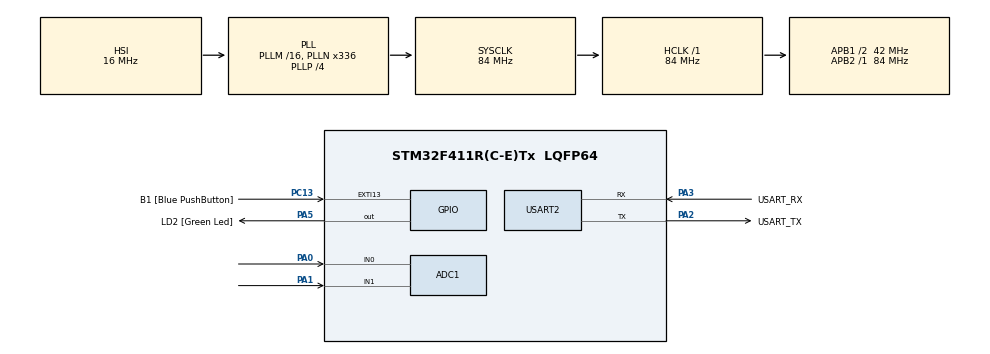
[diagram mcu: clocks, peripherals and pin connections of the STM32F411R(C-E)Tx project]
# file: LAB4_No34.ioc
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Mcu.Family=STM32F4
RCC.CortexFreq_Value=84000000
VP_ADC1_TempSens_Input.Mode=IN-TempSens
ADC1.ContinuousConvMode=ENABLE
PA14.GPIO_Label=TCK
RCC.SYSCLKSource=RCC_SYSCLKSOURCE_PLLCLK
ProjectManager.StackSize=0x400
PH0\ -\ OSC_IN.Signal=RCC_OSC_IN
ADC1.Channel-3\#ChannelRegularConversion=ADC_CHANNEL_TEMPSENSOR
RCC.HCLKFreq_Value=84000000
RCC.APB2TimFreq_Value=84000000
Dma.ADC1.0.Direction=DMA_PERIPH_TO_MEMORY
ADC1.Channel-2\#ChannelRegularConversion=ADC_CHANNEL_TEMPSENSOR
NVIC.DMA2_Stream0_IRQn=true\:0\:0\:false\:false\:true\:false\:true
Dma.ADC1.0.MemDataAlignment=DMA_MDATAALIGN_WORD
RCC.AHBFreq_Value=84000000
NVIC.EXTI15_10_IRQn=true\:0\:0\:false\:false\:true\:true\:true
ADC1.Channel-0\#ChannelRegularConversion=ADC_CHANNEL_0
RCC.HSE_VALUE=8000000
ADC1.ScanConvMode=ENABLE
PC13-ANTI_TAMP.Signal=GPXTI13
VP_ADC1_Vref_Input.Mode=IN-Vrefint
ADC1.Rank-2\#ChannelRegularConversion=3
PC14-OSC32_IN.Mode=LSE-External-Oscillator
PA14.Mode=Serial_Wire
Dma.ADC1.0.PeriphInc=DMA_PINC_DISABLE
SH.ADCx_IN0.0=ADC1_IN0,IN0
ADC1.SamplingTime-0\#ChannelRegularConversion=ADC_SAMPLETIME_480CYCLES
RCC.FLatency-AdvancedSettings=FLASH_LATENCY_2
Mcu.Package=LQFP64
USART2.VirtualMode=VM_ASYNC
PA2.GPIO_Label=USART_TX
SH.ADCx_IN1.0=ADC1_IN1,IN1
RCC.APB1TimFreq_Value=84000000
Dma.ADC1.0.FIFOMode=DMA_FIFOMODE_DISABLE
Dma.Request0=ADC1
PA3.Signal=USART2_RX
PB3.GPIO_Label=SWO
PC15-OSC32_OUT.Mode=LSE-External-Oscillator
Dma.ADC1.0.Instance=DMA2_Stream0
ADC1.Rank-0\#ChannelRegularConversion=1
PC13-ANTI_TAMP.GPIO_PuPd=GPIO_PULLUP
PC13-ANTI_TAMP.GPIO_Label=B1 [Blue PushButton]
PH1\ -\ OSC_OUT.Mode=HSE-External-Clock-Source
RCC.APB1CLKDivider=RCC_HCLK_DIV2
PC14-OSC32_IN.Signal=RCC_OSC32_IN
ADC1.SamplingTime-2\#ChannelRegularConversion=ADC_SAMPLETIME_480CYCLES
PA0-WKUP.Signal=ADCx_IN0
PA13.Signal=SYS_JTMS-SWDIO
PA3.Mode=Asynchronous
Dma.ADC1.0.PeriphDataAlignment=DMA_PDATAALIGN_WORD
PH0\ -\ OSC_IN.Mode=HSE-External-Clock-Source
ProjectManager.TargetToolchain=STM32CubeIDE
Dma.ADC1.0.Mode=DMA_CIRCULAR
Dma.ADC1.0.Priority=DMA_PRIORITY_LOW
ADC1.Channel-1\#ChannelRegularConversion=ADC_CHANNEL_1
PC15-OSC32_OUT.Signal=RCC_OSC32_OUT
PA1.Signal=ADCx_IN1
PA5.Signal=GPIO_Output
PH1\ -\ OSC_OUT.Signal=RCC_OSC_OUT
board=NUCLEO-F411RE
RCC.VCOOutputFreq_Value=336000000
RCC.APB2Freq_Value=84000000
ADC1.DMAContinuousRequests=ENABLE
ADC1.NbrOfConversion=4
PA13.Mode=Serial_Wire
Mcu.Name=STM32F411R(C-E)Tx
PA13.GPIO_Label=TMS
PA2.Signal=USART2_TX
RCC.48MHZClocksFreq_Value=84000000
PB3.Signal=SYS_JTDO-SWO
ADC1.SamplingTime-1\#ChannelRegularConversion=ADC_SAMPLETIME_480CYCLES
RCC.SYSCLKFreq_VALUE=84000000
ADC1.master=1
PA5.GPIO_Label=LD2 [Green Led]
ADC1.Rank-3\#ChannelRegularConversion=4
ADC1.SamplingTime-3\#ChannelRegularConversion=ADC_SAMPLETIME_480CYCLES
ADC1.Rank-1\#ChannelRegularConversion=2
PC13-ANTI_TAMP.GPIO_ModeDefaultEXTI=GPIO_MODE_IT_RISING_FALLING
PA14.Signal=SYS_JTCK-SWCLK
Dma.ADC1.0.MemInc=DMA_MINC_ENABLE
ProjectManager.HeapSize=0x200
RCC.HSI_VALUE=16000000
RCC.PLLP=RCC_PLLP_DIV4
NVIC.PriorityGroup=NVIC_PRIORITYGROUP_0
ADC1.NbrOfConversionFlag=1
RCC.PLLN=336
PA2.Mode=Asynchronous
RCC.APB1Freq_Value=42000000
PA3.GPIO_Label=USART_RX

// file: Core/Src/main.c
/* USER CODE BEGIN Header */
/**
 ******************************************************************************
 * @file           : main.c
 * @brief          : Main program body
 ******************************************************************************
 * @attention
 *
 * <h2><center>&copy; Copyright (c) 2021 STMicroelectronics.
 * All rights reserved.</center></h2>
 *
 * This software component is licensed by ST under BSD 3-Clause license,
 * the "License"; You may not use this file except in compliance with the
 * License. You may obtain a copy of the License at:
 *                        opensource.org/licenses/BSD-3-Clause
 *
 ******************************************************************************
 */
/* USER CODE END Header */
#include "main.h"

ADC_HandleTypeDef hadc1;
DMA_HandleTypeDef hdma_adc1;

UART_HandleTypeDef huart2;

/* USER CODE BEGIN PV */
uint32_t ADCData[4] = { 0 }; //4ช่อง(Buffer)
uint32_t ButtonTimeStamp = 0;
uint32_t ButtonTimeStamp2 = 0;
uint32_t t = 0;
uint32_t T = 0;
uint32_t T2=0;
uint32_t Time1=0;
GPIO_PinState SWState[2];
/* USER CODE END PV */

void SystemClock_Config(void);
static void MX_GPIO_Init(void);
static void MX_DMA_Init(void);
static void MX_USART2_UART_Init(void);
static void MX_ADC1_Init(void);
/* USER CODE BEGIN PFP */
void Timer();
/* USER CODE END PFP */

int main(void) {

	/* MCU Configuration--------------------------------------------------------*/

	/* Reset of all peripherals, Initializes the Flash interface and the Systick. */
	HAL_Init();

	/* Configure the system clock */
	SystemClock_Config();

	/* Initialize all configured peripherals */
	MX_GPIO_Init();
	MX_DMA_Init();
	MX_USART2_UART_Init();
	MX_ADC1_Init();
	/* USER CODE BEGIN 2 */

	HAL_ADC_Start_DMA(&hadc1, ADCData, 4);
	//HAL_GPIO_TogglePin(LD2_GPIO_Port, LD2_Pin);
	//HAL_GPIO_WritePin(GPIOA, GPIO_PIN_5, GPIO_PIN_SET);
	/* USER CODE END 2 */

	/* Infinite loop */
	while (1) {

		/* USER CODE BEGIN 3 */
//	  if(HAL_GetTick()- ButtonTimeStamp >= 1000) //ms
//	  {
//		  ButtonTimeStamp = HAL_GetTick();
//		  //HAL_GPIO_WritePin(GPIOA, GPIO_PIN_5, GPIO_PIN_SET);
//		  HAL_GPIO_TogglePin(LD2_GPIO_Port, LD2_Pin);
//	  }
		if (t == 0) {
			HAL_GPIO_WritePin(GPIOA, GPIO_PIN_5, GPIO_PIN_SET);
		}
		else if (t == 1) {
			HAL_GPIO_WritePin(GPIOA, GPIO_PIN_5, GPIO_PIN_RESET);
			ButtonTimeStamp = HAL_GetTick();
			t++;
		}
		else if (t == 2) {
			Time1 = 1000+((22695477 * ADCData[0]) + ADCData[1]) % 10000;
			if (HAL_GetTick() - ButtonTimeStamp >= Time1) //ms
			{
				ButtonTimeStamp2 = HAL_GetTick();
				HAL_GPIO_WritePin(GPIOA, GPIO_PIN_5, GPIO_PIN_SET);
				t++;

			}
		}
		else if(t==4)
		{
			T2 = HAL_GetTick();
			T = T2 - ButtonTimeStamp2;
			t=0;
		}

		/* USER CODE END 3 */
	}
}

void SystemClock_Config(void) {
	RCC_OscInitTypeDef RCC_OscInitStruct = { 0 };
	RCC_ClkInitTypeDef RCC_ClkInitStruct = { 0 };

	/** Configure the main internal regulator output voltage
	 */
	__HAL_RCC_PWR_CLK_ENABLE();
	__HAL_PWR_VOLTAGESCALING_CONFIG(PWR_REGULATOR_VOLTAGE_SCALE1);
	/** Initializes the RCC Oscillators according to the specified parameters
	 * in the RCC_OscInitTypeDef structure.
	 */
	RCC_OscInitStruct.OscillatorType = RCC_OSCILLATORTYPE_HSI;
	RCC_OscInitStruct.HSIState = RCC_HSI_ON;
	RCC_OscInitStruct.HSICalibrationValue = RCC_HSICALIBRATION_DEFAULT;
	RCC_OscInitStruct.PLL.PLLState = RCC_PLL_ON;
	RCC_OscInitStruct.PLL.PLLSource = RCC_PLLSOURCE_HSI;
	RCC_OscInitStruct.PLL.PLLM = 16;
	RCC_OscInitStruct.PLL.PLLN = 336;
	RCC_OscInitStruct.PLL.PLLP = RCC_PLLP_DIV4;
	RCC_OscInitStruct.PLL.PLLQ = 4;
	if (HAL_RCC_OscConfig(&RCC_OscInitStruct) != HAL_OK) {
		Error_Handler();
	}
	/** Initializes the CPU, AHB and APB buses clocks
	 */
	RCC_ClkInitStruct.ClockType = RCC_CLOCKTYPE_HCLK | RCC_CLOCKTYPE_SYSCLK
			| RCC_CLOCKTYPE_PCLK1 | RCC_CLOCKTYPE_PCLK2;
	RCC_ClkInitStruct.SYSCLKSource = RCC_SYSCLKSOURCE_PLLCLK;
	RCC_ClkInitStruct.AHBCLKDivider = RCC_SYSCLK_DIV1;
	RCC_ClkInitStruct.APB1CLKDivider = RCC_HCLK_DIV2;
	RCC_ClkInitStruct.APB2CLKDivider = RCC_HCLK_DIV1;

	if (HAL_RCC_ClockConfig(&RCC_ClkInitStruct, FLASH_LATENCY_2) != HAL_OK) {
		Error_Handler();
	}
}

static void MX_ADC1_Init(void) {

	ADC_ChannelConfTypeDef sConfig = { 0 };

	/** Configure the global features of the ADC (Clock, Resolution, Data Alignment and number of conversion)
	 */
	hadc1.Instance = ADC1;
	hadc1.Init.ClockPrescaler = ADC_CLOCK_SYNC_PCLK_DIV4;
	hadc1.Init.Resolution = ADC_RESOLUTION_12B;
	hadc1.Init.ScanConvMode = ENABLE;
	hadc1.Init.ContinuousConvMode = ENABLE;
	hadc1.Init.DiscontinuousConvMode = DISABLE;
	hadc1.Init.ExternalTrigConvEdge = ADC_EXTERNALTRIGCONVEDGE_NONE;
	hadc1.Init.ExternalTrigConv = ADC_SOFTWARE_START;
	hadc1.Init.DataAlign = ADC_DATAALIGN_RIGHT;
	hadc1.Init.NbrOfConversion = 4;
	hadc1.Init.DMAContinuousRequests = ENABLE;
	hadc1.Init.EOCSelection = ADC_EOC_SINGLE_CONV;
	if (HAL_ADC_Init(&hadc1) != HAL_OK) {
		Error_Handler();
	}
	/** Configure for the selected ADC regular channel its corresponding rank in the sequencer and its sample time.
	 */
	sConfig.Channel = ADC_CHANNEL_0;
	sConfig.Rank = 1;
	sConfig.SamplingTime = ADC_SAMPLETIME_480CYCLES;
	if (HAL_ADC_ConfigChannel(&hadc1, &sConfig) != HAL_OK) {
		Error_Handler();
	}
	/** Configure for the selected ADC regular channel its corresponding rank in the sequencer and its sample time.
	 */
	sConfig.Channel = ADC_CHANNEL_1;
	sConfig.Rank = 2;
	if (HAL_ADC_ConfigChannel(&hadc1, &sConfig) != HAL_OK) {
		Error_Handler();
	}
	/** Configure for the selected ADC regular channel its corresponding rank in the sequencer and its sample time.
	 */
	sConfig.Channel = ADC_CHANNEL_TEMPSENSOR;
	sConfig.Rank = 3;
	if (HAL_ADC_ConfigChannel(&hadc1, &sConfig) != HAL_OK) {
		Error_Handler();
	}
	/** Configure for the selected ADC regular channel its corresponding rank in the sequencer and its sample time.
	 */
	sConfig.Rank = 4;
	if (HAL_ADC_ConfigChannel(&hadc1, &sConfig) != HAL_OK) {
		Error_Handler();
	}

}

static void MX_USART2_UART_Init(void) {

	huart2.Instance = USART2;
	huart2.Init.BaudRate = 115200;
	huart2.Init.WordLength = UART_WORDLENGTH_8B;
	huart2.Init.StopBits = UART_STOPBITS_1;
	huart2.Init.Parity = UART_PARITY_NONE;
	huart2.Init.Mode = UART_MODE_TX_RX;
	huart2.Init.HwFlowCtl = UART_HWCONTROL_NONE;
	huart2.Init.OverSampling = UART_OVERSAMPLING_16;
	if (HAL_UART_Init(&huart2) != HAL_OK) {
		Error_Handler();
	}

}

static void MX_DMA_Init(void) {

	/* DMA controller clock enable */
	__HAL_RCC_DMA2_CLK_ENABLE();

	/* DMA interrupt init */
	/* DMA2_Stream0_IRQn interrupt configuration */
	HAL_NVIC_SetPriority(DMA2_Stream0_IRQn, 0, 0);
	HAL_NVIC_EnableIRQ(DMA2_Stream0_IRQn);

}

static void MX_GPIO_Init(void) {
	GPIO_InitTypeDef GPIO_InitStruct = { 0 };

	/* GPIO Ports Clock Enable */
	__HAL_RCC_GPIOC_CLK_ENABLE();
	__HAL_RCC_GPIOH_CLK_ENABLE();
	__HAL_RCC_GPIOA_CLK_ENABLE();
	__HAL_RCC_GPIOB_CLK_ENABLE();

	/*Configure GPIO pin Output Level */
	HAL_GPIO_WritePin(LD2_GPIO_Port, LD2_Pin, GPIO_PIN_RESET);

	/*Configure GPIO pin : B1_Pin */
	GPIO_InitStruct.Pin = B1_Pin;
	GPIO_InitStruct.Mode = GPIO_MODE_IT_RISING_FALLING;
	GPIO_InitStruct.Pull = GPIO_PULLUP;
	HAL_GPIO_Init(B1_GPIO_Port, &GPIO_InitStruct);

	/*Configure GPIO pin : LD2_Pin */
	GPIO_InitStruct.Pin = LD2_Pin;
	GPIO_InitStruct.Mode = GPIO_MODE_OUTPUT_PP;
	GPIO_InitStruct.Pull = GPIO_NOPULL;
	GPIO_InitStruct.Speed = GPIO_SPEED_FREQ_LOW;
	HAL_GPIO_Init(LD2_GPIO_Port, &GPIO_InitStruct);

	/* EXTI interrupt init*/
	HAL_NVIC_SetPriority(EXTI15_10_IRQn, 0, 0);
	HAL_NVIC_EnableIRQ(EXTI15_10_IRQn);

}

/* USER CODE BEGIN 4 */
void Timer() {
	HAL_GPIO_WritePin(GPIOA, GPIO_PIN_5, GPIO_PIN_RESET);
	ButtonTimeStamp = HAL_GetTick();
	while (1) {
		if (HAL_GetTick() - ButtonTimeStamp >= 1000) //ms
		{
			HAL_GPIO_WritePin(GPIOA, GPIO_PIN_5, GPIO_PIN_SET);
			break;
		}
	}
}
void HAL_GPIO_EXTI_Callback(uint16_t GPIO_Pin) {
	if (GPIO_Pin == GPIO_PIN_13) {
		t++;
	}

	//1000+((22695477 * ADCData[0]) + ADCData[1] % 10000)
	//HAL_GPIO_TogglePin(LD2_GPIO_Port, LD2_Pin);

}
/* USER CODE END 4 */

void Error_Handler(void) {
	__disable_irq();
	while (1) {
	}
}

/************************ (C) COPYRIGHT STMicroelectronics *****END OF FILE****/
